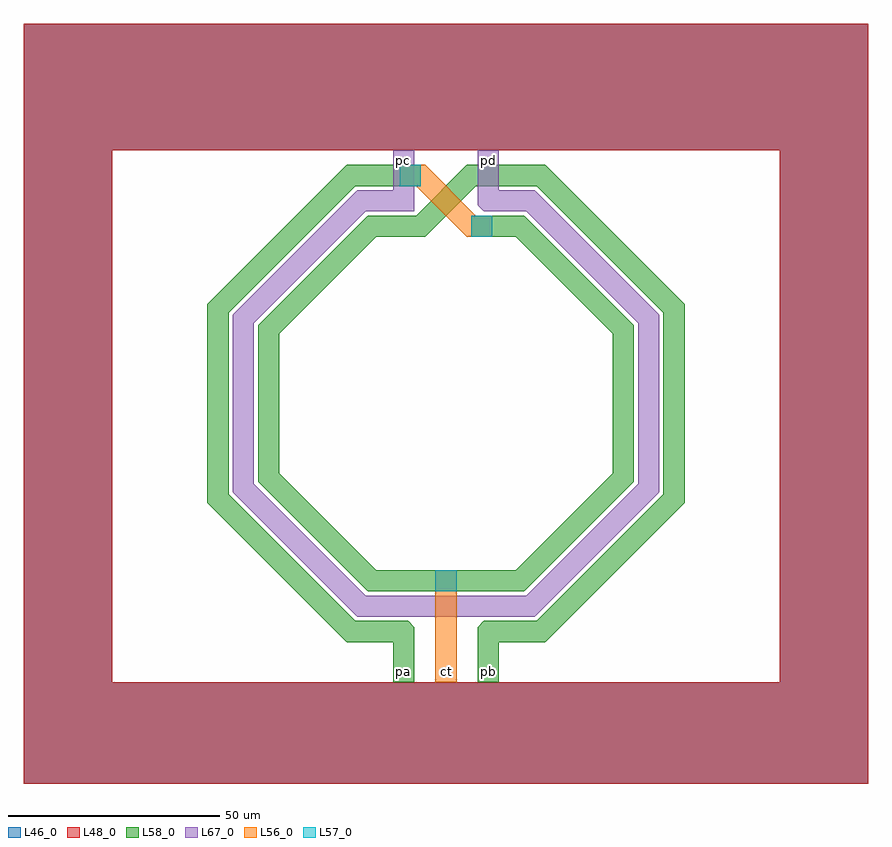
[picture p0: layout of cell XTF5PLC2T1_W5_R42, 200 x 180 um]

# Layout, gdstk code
import gdstk
lib = gdstk.Library(unit=1e-6, precision=1e-09)
def R(c, l, rs):  # rectangles x0, y0, x1, y1
    for r in rs: c.add(gdstk.rectangle(r[:2], r[2:], *l))
def P(c, l, *ps):  # polygons
    for p in ps: c.add(gdstk.Polygon(p, *l))
L46_0 = (46, 0)
L48_0 = (48, 0)
L56_0 = (56, 0)
L57_0 = (57, 0)
L58_0 = (58, 0)
L67_0 = (67, 0)

xtf5plc2t1_w5_r42 = lib.new_cell('XTF5PLC2T1_W5_R42')
P(xtf5plc2t1_w5_r42, L46_0, [(100,-90),(-100,-90),(-100,90),(79,90),(79,60),(-79,60),(-79,-66),(79,-66),(79,90),(100,90)])
P(xtf5plc2t1_w5_r42, L48_0, [(100,-90),(-100,-90),(-100,90),(79,90),(79,60),(-79,60),(-79,-66),(79,-66),(79,90),(100,90)])
R(xtf5plc2t1_w5_r42, L56_0, [(-2.5,-66,2.5,-39.5), (-2.5,-66,2.5,-61)])
P(xtf5plc2t1_w5_r42, L56_0, [(11,39.5),(4.965,39.5),(-7.035,51.5),(-11,51.5),(-11,56.5),(-4.965,56.5),(7.035,44.5),(11,44.5)])
R(xtf5plc2t1_w5_r42, L57_0, [(-2.5,-44.5,2.5,-39.5), (6,39.5,11,44.5), (-11,51.5,-6,56.5)])
R(xtf5plc2t1_w5_r42, L58_0, [(-12.5,-66,-7.5,-61), (7.5,-66,12.5,-61)])
P(xtf5plc2t1_w5_r42, L58_0, [(-6,51.5),(-21.47,51.5),(-51.5,21.47),(-51.5,-21.47),(-21.47,-51.5),(-8.965,-51.5),(-7.5,-52.965),(-7.5,-66),(-12.5,-66),(-12.5,-56.5),(-23.54,-56.5),(-56.5,-23.54),(-56.5,23.54),(-23.54,56.5),(-6,56.5)],
  [(56.5,-23.54),(23.54,-56.5),(12.5,-56.5),(12.5,-66),(7.5,-66),(7.5,-52.965),(8.965,-51.5),(21.47,-51.5),(51.5,-21.47),(51.5,21.47),(21.47,51.5),(7.035,51.5),(-4.965,39.5),(-16.47,39.5),(-39.5,16.47),(-39.5,-16.47),(-16.47,-39.5),(16.47,-39.5),(39.5,-16.47),(39.5,16.47),(16.47,39.5),(6,39.5),(6,44.5),(18.54,44.5),(44.5,18.54),(44.5,-18.54),(18.54,-44.5),(-18.54,-44.5),(-44.5,-18.54),(-44.5,18.54),(-18.54,44.5),(-7.035,44.5),(4.965,56.5),(23.54,56.5),(56.5,23.54)])
R(xtf5plc2t1_w5_r42, L67_0, [(-12.5,55,-7.5,60), (7.5,55,12.5,60)])
P(xtf5plc2t1_w5_r42, L67_0, [(50.5,-21.04),(21.04,-50.5),(-21.04,-50.5),(-50.5,-21.04),(-50.5,21.04),(-21.04,50.5),(-12.5,50.5),(-12.5,60),(-7.5,60),(-7.5,45.5),(-18.97,45.5),(-45.5,18.97),(-45.5,-18.97),(-18.97,-45.5),(18.97,-45.5),(45.5,-18.97),(45.5,18.97),(18.97,45.5),(8.965,45.5),(7.5,46.965),(7.5,60),(12.5,60),(12.5,50.5),(21.04,50.5),(50.5,21.04)])
xtf5plc2t1_w5_r42.add(gdstk.Label('pb', (10,-63.5), layer=58, texttype=0))
xtf5plc2t1_w5_r42.add(gdstk.Label('pa', (-10,-63.5), layer=58, texttype=0))
xtf5plc2t1_w5_r42.add(gdstk.Label('pd', (10,57.5), layer=67, texttype=0))
xtf5plc2t1_w5_r42.add(gdstk.Label('pc', (-10,57.5), layer=67, texttype=0))
xtf5plc2t1_w5_r42.add(gdstk.Label('ct', (0,-63.5), layer=56, texttype=0))

lib.write_gds('XTF5PLC2T1_W5_R42.gds')
